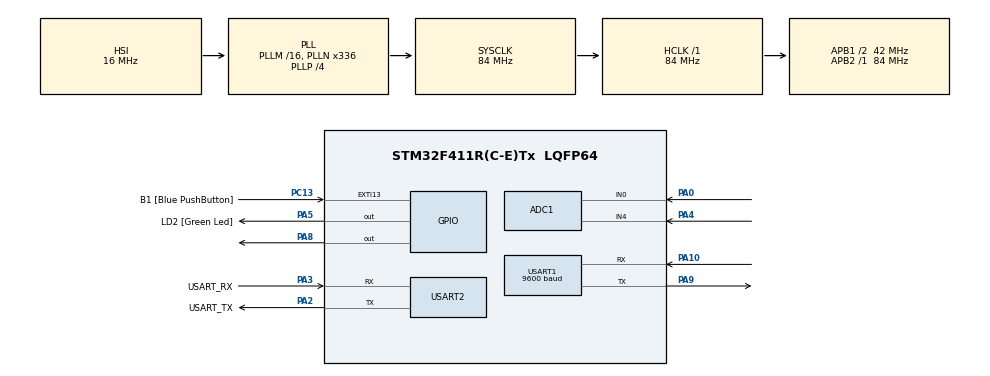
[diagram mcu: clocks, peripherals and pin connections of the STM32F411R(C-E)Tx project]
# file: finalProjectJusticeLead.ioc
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ADC1.Channel-0\#ChannelRegularConversion=ADC_CHANNEL_0
ADC1.Channel-1\#ChannelRegularConversion=ADC_CHANNEL_4
ADC1.ClockPrescaler=ADC_CLOCK_SYNC_PCLK_DIV8
ADC1.ContinuousConvMode=ENABLE
ADC1.DMAContinuousRequests=ENABLE
ADC1.NbrOfConversion=2
ADC1.NbrOfConversionFlag=1
ADC1.Rank-0\#ChannelRegularConversion=1
ADC1.Rank-1\#ChannelRegularConversion=2
ADC1.SamplingTime-0\#ChannelRegularConversion=ADC_SAMPLETIME_28CYCLES
ADC1.SamplingTime-1\#ChannelRegularConversion=ADC_SAMPLETIME_28CYCLES
ADC1.master=1
Dma.ADC1.0.Direction=DMA_PERIPH_TO_MEMORY
Dma.ADC1.0.FIFOMode=DMA_FIFOMODE_DISABLE
Dma.ADC1.0.Instance=DMA2_Stream0
Dma.ADC1.0.MemDataAlignment=DMA_MDATAALIGN_HALFWORD
Dma.ADC1.0.MemInc=DMA_MINC_ENABLE
Dma.ADC1.0.Mode=DMA_CIRCULAR
Dma.ADC1.0.PeriphDataAlignment=DMA_PDATAALIGN_HALFWORD
Dma.ADC1.0.PeriphInc=DMA_PINC_DISABLE
Dma.ADC1.0.Priority=DMA_PRIORITY_LOW
Dma.Request0=ADC1
Mcu.Family=STM32F4
Mcu.Name=STM32F411R(C-E)Tx
Mcu.Package=LQFP64
NVIC.ADC_IRQn=true\:0\:0\:false\:false\:true\:true\:true\:true
NVIC.DMA2_Stream0_IRQn=true\:0\:0\:false\:false\:true\:false\:true\:true
NVIC.PriorityGroup=NVIC_PRIORITYGROUP_0
NVIC.TIM3_IRQn=true\:0\:0\:false\:false\:true\:true\:true\:true
PA0-WKUP.Signal=ADCx_IN0
PA10.Mode=Asynchronous
PA10.Signal=USART1_RX
PA13.GPIO_Label=TMS
PA13.Mode=Serial_Wire
PA13.Signal=SYS_JTMS-SWDIO
PA14.GPIO_Label=TCK
PA14.Mode=Serial_Wire
PA14.Signal=SYS_JTCK-SWCLK
PA2.GPIO_Label=USART_TX
PA2.Mode=Asynchronous
PA2.Signal=USART2_TX
PA3.GPIO_Label=USART_RX
PA3.Mode=Asynchronous
PA3.Signal=USART2_RX
PA4.Signal=ADCx_IN4
PA5.GPIO_Label=LD2 [Green Led]
PA5.Signal=GPIO_Output
PA8.Signal=GPIO_Output
PA9.Mode=Asynchronous
PA9.Signal=USART1_TX
PB3.GPIO_Label=SWO
PB3.Signal=SYS_JTDO-SWO
PC13-ANTI_TAMP.GPIO_Label=B1 [Blue PushButton]
PC13-ANTI_TAMP.GPIO_ModeDefaultEXTI=GPIO_MODE_IT_FALLING
PC13-ANTI_TAMP.Signal=GPXTI13
PC14-OSC32_IN.Mode=LSE-External-Oscillator
PC14-OSC32_IN.Signal=RCC_OSC32_IN
PC15-OSC32_OUT.Mode=LSE-External-Oscillator
PC15-OSC32_OUT.Signal=RCC_OSC32_OUT
PH0\ -\ OSC_IN.Mode=HSE-External-Clock-Source
PH0\ -\ OSC_IN.Signal=RCC_OSC_IN
PH1\ -\ OSC_OUT.Mode=HSE-External-Clock-Source
PH1\ -\ OSC_OUT.Signal=RCC_OSC_OUT
ProjectManager.HeapSize=0x200
ProjectManager.StackSize=0x400
ProjectManager.TargetToolchain=STM32CubeIDE
RCC.48MHZClocksFreq_Value=84000000
RCC.AHBFreq_Value=84000000
RCC.APB1CLKDivider=RCC_HCLK_DIV2
RCC.APB1Freq_Value=42000000
RCC.APB1TimFreq_Value=84000000
RCC.APB2Freq_Value=84000000
RCC.APB2TimFreq_Value=84000000
RCC.CortexFreq_Value=84000000
RCC.FLatency-AdvancedSettings=FLASH_LATENCY_2
RCC.HCLKFreq_Value=84000000
RCC.HSE_VALUE=8000000
RCC.HSI_VALUE=16000000
RCC.PLLN=336
RCC.PLLP=RCC_PLLP_DIV4
RCC.SYSCLKFreq_VALUE=84000000
RCC.SYSCLKSource=RCC_SYSCLKSOURCE_PLLCLK
RCC.VCOOutputFreq_Value=336000000
SH.ADCx_IN0.0=ADC1_IN0,IN0
SH.ADCx_IN4.0=ADC1_IN4,IN4
TIM3.Prescaler=84-1
USART1.BaudRate=9600
USART1.VirtualMode=VM_ASYNC
USART2.VirtualMode=VM_ASYNC
VP_TIM3_VS_ClockSourceINT.Mode=Internal
board=NUCLEO-F411RE

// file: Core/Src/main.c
/* USER CODE BEGIN Header */
/**
  ******************************************************************************
  * @file           : main.c
  * @brief          : Main program body
  ******************************************************************************
  * @attention
  *
  * Copyright (c) 2023 STMicroelectronics.
  * All rights reserved.
  *
  * This software is licensed under terms that can be found in the LICENSE file
  * in the root directory of this software component.
  * If no LICENSE file comes with this software, it is provided AS-IS.
  *
  ******************************************************************************
  */
//Thanks you ajarns, Thanks you TAs, and also thanks to everyone who support us.
/* USER CODE END Header */
#include "main.h"

ADC_HandleTypeDef hadc1;
DMA_HandleTypeDef hdma_adc1;

TIM_HandleTypeDef htim3;

UART_HandleTypeDef huart1;
UART_HandleTypeDef huart2;

void SystemClock_Config(void);
static void MX_GPIO_Init(void);
static void MX_DMA_Init(void);
static void MX_USART2_UART_Init(void);
static void MX_TIM3_Init(void);
static void MX_ADC1_Init(void);
static void MX_USART1_UART_Init(void);

/* USER CODE BEGIN 0 */
uint8_t Rh_byte1, Rh_byte2, Temp_byte1, Temp_byte2;
uint16_t SUM, RH, TEMP;
char t[1000];
uint16_t advcal[2];

char txt[1000];
int x = 0;

char dataToMcu[50] = "";

char line[1000];

float Temperature = 0;
//float Humidity = 0;
uint8_t Presence = 0;

//=============================================================

float TempHot = 30.0;
float TempCold = 22.0;

int mDry = 300; // high value = dry
int mWet = 200; // low value = wet

int lightOperateLower = 500;
int lightOperateUpper = 1100;
//==============================================================
void setMoistureBound(int wet, int dry){
	mDry = dry;
	mWet = wet;
}

void setTempBound(float cold , float hot){
	TempHot = hot;
	TempCold = cold;
}

void setLightOperate(int lower , int upper){

	lightOperateLower = lower;
	lightOperateUpper = upper;
}

int isLightInBound(int light){
	if ((light > lightOperateLower) && (light < lightOperateUpper )){
		return 1;
	}
	return 0;
}
//==============================================================

float getTemp(){
	return Temperature;
}
int getMoist(){
	return (int)(advcal[1]/10);
}
int getLight(){
	return (int)advcal[0];
}

void Set_Pin_Output (GPIO_TypeDef *GPIOx, uint16_t GPIO_Pin)
{
	GPIO_InitTypeDef GPIO_InitStruct = {0};
	GPIO_InitStruct.Pin = GPIO_Pin;
	GPIO_InitStruct.Mode = GPIO_MODE_OUTPUT_PP;
	GPIO_InitStruct.Speed = GPIO_SPEED_FREQ_LOW;
	HAL_GPIO_Init(GPIOx, &GPIO_InitStruct);
}

void Set_Pin_Input (GPIO_TypeDef *GPIOx, uint16_t GPIO_Pin)
{
	GPIO_InitTypeDef GPIO_InitStruct = {0};
	GPIO_InitStruct.Pin = GPIO_Pin;
	GPIO_InitStruct.Mode = GPIO_MODE_INPUT;
	GPIO_InitStruct.Pull = GPIO_PULLUP;
	HAL_GPIO_Init(GPIOx, &GPIO_InitStruct);
}

void delay (uint16_t time)
{
	/* change your code here for the delay in microseconds */
	//HAL_UART_Transmit(&huart2, xx, sizeof(xx), 10);
	__HAL_TIM_SET_COUNTER(&htim3, 0);
	while ((__HAL_TIM_GET_COUNTER(&htim3))<time);
}

#define DS18B20_PORT GPIOA
#define DS18B20_PIN GPIO_PIN_1

uint8_t DS18B20_Start (void)
{
	uint8_t Response = 0;
	Set_Pin_Output(DS18B20_PORT, DS18B20_PIN);   // set the pin as output
	HAL_GPIO_WritePin (DS18B20_PORT, DS18B20_PIN, 0);  // pull the pin low
	delay(480);   // delay according to datasheet

	Set_Pin_Input(DS18B20_PORT, DS18B20_PIN);    // set the pin as input
	delay(80);    // delay according to datasheet

	if (!(HAL_GPIO_ReadPin (DS18B20_PORT, DS18B20_PIN))) Response = 1;    // if the pin is low i.e the presence pulse is detected
	else Response = -1;

	delay(400); // 480 us delay totally.

	return Response;
}

void DS18B20_Write (uint8_t data)
{
	Set_Pin_Output(DS18B20_PORT, DS18B20_PIN);  // set as output

	for (int i=0; i<8; i++)
	{

		if ((data & (1<<i))!=0)  // if the bit is high
		{
			// write 1

			Set_Pin_Output(DS18B20_PORT, DS18B20_PIN);  // set as output
			HAL_GPIO_WritePin (DS18B20_PORT, DS18B20_PIN, 0);  // pull the pin LOW
			delay(1);  // wait for 1 us

			Set_Pin_Input(DS18B20_PORT, DS18B20_PIN);  // set as input
			delay(50);  // wait for 60 us
		}

		else  // if the bit is low
		{
			// write 0

			Set_Pin_Output(DS18B20_PORT, DS18B20_PIN);
			HAL_GPIO_WritePin (DS18B20_PORT, DS18B20_PIN, 0);  // pull the pin LOW
			delay(50);  // wait for 60 us

			Set_Pin_Input(DS18B20_PORT, DS18B20_PIN);
		}
	}
}

uint8_t DS18B20_Read (void)
{
	uint8_t value=0;

	Set_Pin_Input(DS18B20_PORT, DS18B20_PIN);

	for (int i=0;i<8;i++)
	{
		Set_Pin_Output(DS18B20_PORT, DS18B20_PIN);   // set as output

		HAL_GPIO_WritePin (DS18B20_PORT, DS18B20_PIN, 0);  // pull the data pin LOW
		delay(1);  // wait for > 1us

		Set_Pin_Input(DS18B20_PORT, DS18B20_PIN);  // set as input
		if (HAL_GPIO_ReadPin (DS18B20_PORT, DS18B20_PIN))  // if the pin is HIGH
		{
			value |= 1<<i;  // read = 1
		}
		delay(50);  // wait for 60 us
	}
	return value;
}

void heyTempurature(void){
	Presence = DS18B20_Start();
	HAL_Delay(1);
	DS18B20_Write(0xCC);
	DS18B20_Write(0x44);
	HAL_Delay(800);

	Presence = DS18B20_Start();
	DS18B20_Write(0xCC);
	DS18B20_Write(0xBE);
	HAL_Delay(1);

	Temp_byte1 = DS18B20_Read();
	Temp_byte2 = DS18B20_Read();
	TEMP = (Temp_byte2<<8)|Temp_byte1;
	Temperature = (float)TEMP/16;

	sprintf(t,"temp sensor  = %f \r\n", Temperature);
	HAL_UART_Transmit(&huart2, t, sizeof(t), 10);
}

void readLight(){
	/*int adcval = 0;
	HAL_ADC_Start(&hadc1);
	if(HAL_ADC_PollForConversion(&hadc1, 1000) == HAL_OK){
	     adcval = HAL_ADC_GetValue(&hadc1);
	}
	sprintf(light, "adcval = %d\r\n" ,adcval);

	 //printf("%d", &adcval);
	HAL_UART_Transmit(&huart2, light, sizeof(light), HAL_MAX_DELAY * 100000000000);
	HAL_Delay(200);*/

	x = advcal[0];
	sprintf(txt, "Light sensor =  %d\r\n" ,x);

	HAL_UART_Transmit(&huart2, txt, sizeof(txt), HAL_MAX_DELAY);
	//HAL_UART_Transmit(&huart2, x, sizeof(x), HAL_MAX_DELAY );
	//HAL_UART_Transmit(&huart2, '\n', sizeof('\n'), HAL_MAX_DELAY);
	HAL_Delay(200);
}
void readMoist(){
	//char txt[] = "Moist sensor = ";
	x = advcal[1]/10;
	sprintf(txt, "Moist sensor =  %d\r\n" ,x);
	HAL_UART_Transmit(&huart2, txt, sizeof(txt), HAL_MAX_DELAY);
	//HAL_UART_Transmit(&huart2, x, sizeof(x), HAL_MAX_DELAY );
	//HAL_UART_Transmit(&huart2, '\n', sizeof('\n'), HAL_MAX_DELAY);
	HAL_Delay(200);
}

void pumpOn(){
	HAL_GPIO_WritePin(GPIOA, GPIO_PIN_5, GPIO_PIN_SET);
	HAL_GPIO_WritePin(GPIOA, GPIO_PIN_8, GPIO_PIN_RESET);
}
void pumpOff(){
	HAL_GPIO_WritePin(GPIOA, GPIO_PIN_5, GPIO_PIN_RESET);
	HAL_GPIO_WritePin(GPIOA, GPIO_PIN_8, GPIO_PIN_SET);
}

void SensorReport(){
	sprintf(line , "\n\r========================================\n\r" , x);
	heyTempurature();
	readLight();
	readMoist();
	HAL_UART_Transmit(&huart2, line, sizeof(line), HAL_MAX_DELAY);

}

void heyDataPleaseeeeGoToNodeMCUifYouDontGoIwillCry(void){
	HAL_Delay(1000);
	//sprintf(dataToMcu,",%d,%d,%d_", (int) Temperature,advcal[1],advcal[0]); //,temp,moist,light
	sprintf(dataToMcu,",%d,%d,%d_", (int) Temperature,advcal[1]/10,advcal[0]); //,temp,moist,light
	HAL_UART_Transmit(&huart1, dataToMcu, sizeof(dataToMcu), HAL_MAX_DELAY);
	HAL_UART_Transmit(&huart2, dataToMcu, sizeof(dataToMcu), HAL_MAX_DELAY);
	strcpy(dataToMcu,"");
}
/* USER CODE END 0 */

int main(void)
{
  /* USER CODE BEGIN 1 */
	float readTemp;
	int readm , readl;

  /* USER CODE END 1 */

  /* MCU Configuration--------------------------------------------------------*/

  /* Reset of all peripherals, Initializes the Flash interface and the Systick. */
  HAL_Init();

  /* Configure the system clock */
  SystemClock_Config();

  /* Initialize all configured peripherals */
  MX_GPIO_Init();
  MX_DMA_Init();
  MX_USART2_UART_Init();
  MX_TIM3_Init();
  MX_ADC1_Init();
  MX_USART1_UART_Init();
  /* USER CODE BEGIN 2 */
  HAL_TIM_Base_Start(&htim3);
  HAL_ADC_Start_DMA(&hadc1, advcal, 2);
//  hadc1.DMA_Handle->Instance->CR &= ~(DMA_IT_TC | DMA_IT_TE | DMA_IT_DME);
  HAL_NVIC_DisableIRQ(DMA2_Stream0_IRQn);

  setLightOperate(460 , 1100);
  setTempBound(22 , 27);//for room testing
  setMoistureBound(190, 240);

  /* USER CODE END 2 */

  /* Infinite loop */
  while (1)
  {

    /* USER CODE BEGIN 3 */

	  readl = getLight();
	  readm = getMoist();
	  readTemp = getTemp();
	  SensorReport();
	  if((isLightInBound(readl) > 0) && (readm  > mDry || readTemp > TempHot)){
		  while(getMoist() > mWet ){//&& getTemp() > TempCold){
			  // pump working // TBA
			  SensorReport();
			  pumpOn();
			  heyDataPleaseeeeGoToNodeMCUifYouDontGoIwillCry();
			  HAL_Delay(200);

		  }
		  pumpOff();
	  }
	  else{
		  pumpOff();
	  }
	  //HAL_GPIO_WritePin(GPIOA, GPIO_PIN_8, GPIO_PIN_SET);
	  HAL_Delay(200);
	  heyDataPleaseeeeGoToNodeMCUifYouDontGoIwillCry();
	  HAL_UART_Transmit(&huart2, line, sizeof(line), HAL_MAX_DELAY);

  }
  /* USER CODE END 3 */
}

void SystemClock_Config(void)
{
  RCC_OscInitTypeDef RCC_OscInitStruct = {0};
  RCC_ClkInitTypeDef RCC_ClkInitStruct = {0};

  /** Configure the main internal regulator output voltage
  */
  __HAL_RCC_PWR_CLK_ENABLE();
  __HAL_PWR_VOLTAGESCALING_CONFIG(PWR_REGULATOR_VOLTAGE_SCALE1);

  /** Initializes the RCC Oscillators according to the specified parameters
  * in the RCC_OscInitTypeDef structure.
  */
  RCC_OscInitStruct.OscillatorType = RCC_OSCILLATORTYPE_HSI;
  RCC_OscInitStruct.HSIState = RCC_HSI_ON;
  RCC_OscInitStruct.HSICalibrationValue = RCC_HSICALIBRATION_DEFAULT;
  RCC_OscInitStruct.PLL.PLLState = RCC_PLL_ON;
  RCC_OscInitStruct.PLL.PLLSource = RCC_PLLSOURCE_HSI;
  RCC_OscInitStruct.PLL.PLLM = 16;
  RCC_OscInitStruct.PLL.PLLN = 336;
  RCC_OscInitStruct.PLL.PLLP = RCC_PLLP_DIV4;
  RCC_OscInitStruct.PLL.PLLQ = 4;
  if (HAL_RCC_OscConfig(&RCC_OscInitStruct) != HAL_OK)
  {
    Error_Handler();
  }

  /** Initializes the CPU, AHB and APB buses clocks
  */
  RCC_ClkInitStruct.ClockType = RCC_CLOCKTYPE_HCLK|RCC_CLOCKTYPE_SYSCLK
                              |RCC_CLOCKTYPE_PCLK1|RCC_CLOCKTYPE_PCLK2;
  RCC_ClkInitStruct.SYSCLKSource = RCC_SYSCLKSOURCE_PLLCLK;
  RCC_ClkInitStruct.AHBCLKDivider = RCC_SYSCLK_DIV1;
  RCC_ClkInitStruct.APB1CLKDivider = RCC_HCLK_DIV2;
  RCC_ClkInitStruct.APB2CLKDivider = RCC_HCLK_DIV1;

  if (HAL_RCC_ClockConfig(&RCC_ClkInitStruct, FLASH_LATENCY_2) != HAL_OK)
  {
    Error_Handler();
  }
}

static void MX_ADC1_Init(void)
{

  ADC_ChannelConfTypeDef sConfig = {0};

  /** Configure the global features of the ADC (Clock, Resolution, Data Alignment and number of conversion)
  */
  hadc1.Instance = ADC1;
  hadc1.Init.ClockPrescaler = ADC_CLOCK_SYNC_PCLK_DIV8;
  hadc1.Init.Resolution = ADC_RESOLUTION_12B;
  hadc1.Init.ScanConvMode = ENABLE;
  hadc1.Init.ContinuousConvMode = ENABLE;
  hadc1.Init.DiscontinuousConvMode = DISABLE;
  hadc1.Init.ExternalTrigConvEdge = ADC_EXTERNALTRIGCONVEDGE_NONE;
  hadc1.Init.ExternalTrigConv = ADC_SOFTWARE_START;
  hadc1.Init.DataAlign = ADC_DATAALIGN_RIGHT;
  hadc1.Init.NbrOfConversion = 2;
  hadc1.Init.DMAContinuousRequests = ENABLE;
  hadc1.Init.EOCSelection = ADC_EOC_SINGLE_CONV;
  if (HAL_ADC_Init(&hadc1) != HAL_OK)
  {
    Error_Handler();
  }

  /** Configure for the selected ADC regular channel its corresponding rank in the sequencer and its sample time.
  */
  sConfig.Channel = ADC_CHANNEL_0;
  sConfig.Rank = 1;
  sConfig.SamplingTime = ADC_SAMPLETIME_28CYCLES;
  if (HAL_ADC_ConfigChannel(&hadc1, &sConfig) != HAL_OK)
  {
    Error_Handler();
  }

  /** Configure for the selected ADC regular channel its corresponding rank in the sequencer and its sample time.
  */
  sConfig.Channel = ADC_CHANNEL_4;
  sConfig.Rank = 2;
  if (HAL_ADC_ConfigChannel(&hadc1, &sConfig) != HAL_OK)
  {
    Error_Handler();
  }

}

static void MX_TIM3_Init(void)
{

  TIM_ClockConfigTypeDef sClockSourceConfig = {0};
  TIM_MasterConfigTypeDef sMasterConfig = {0};

  htim3.Instance = TIM3;
  htim3.Init.Prescaler = 84-1;
  htim3.Init.CounterMode = TIM_COUNTERMODE_UP;
  htim3.Init.Period = 65535;
  htim3.Init.ClockDivision = TIM_CLOCKDIVISION_DIV1;
  htim3.Init.AutoReloadPreload = TIM_AUTORELOAD_PRELOAD_DISABLE;
  if (HAL_TIM_Base_Init(&htim3) != HAL_OK)
  {
    Error_Handler();
  }
  sClockSourceConfig.ClockSource = TIM_CLOCKSOURCE_INTERNAL;
  if (HAL_TIM_ConfigClockSource(&htim3, &sClockSourceConfig) != HAL_OK)
  {
    Error_Handler();
  }
  sMasterConfig.MasterOutputTrigger = TIM_TRGO_RESET;
  sMasterConfig.MasterSlaveMode = TIM_MASTERSLAVEMODE_DISABLE;
  if (HAL_TIMEx_MasterConfigSynchronization(&htim3, &sMasterConfig) != HAL_OK)
  {
    Error_Handler();
  }

}

static void MX_USART1_UART_Init(void)
{

  huart1.Instance = USART1;
  huart1.Init.BaudRate = 9600;
  huart1.Init.WordLength = UART_WORDLENGTH_8B;
  huart1.Init.StopBits = UART_STOPBITS_1;
  huart1.Init.Parity = UART_PARITY_NONE;
  huart1.Init.Mode = UART_MODE_TX_RX;
  huart1.Init.HwFlowCtl = UART_HWCONTROL_NONE;
  huart1.Init.OverSampling = UART_OVERSAMPLING_16;
  if (HAL_UART_Init(&huart1) != HAL_OK)
  {
    Error_Handler();
  }

}

static void MX_USART2_UART_Init(void)
{

  huart2.Instance = USART2;
  huart2.Init.BaudRate = 115200;
  huart2.Init.WordLength = UART_WORDLENGTH_8B;
  huart2.Init.StopBits = UART_STOPBITS_1;
  huart2.Init.Parity = UART_PARITY_NONE;
  huart2.Init.Mode = UART_MODE_TX_RX;
  huart2.Init.HwFlowCtl = UART_HWCONTROL_NONE;
  huart2.Init.OverSampling = UART_OVERSAMPLING_16;
  if (HAL_UART_Init(&huart2) != HAL_OK)
  {
    Error_Handler();
  }

}

static void MX_DMA_Init(void)
{

  /* DMA controller clock enable */
  __HAL_RCC_DMA2_CLK_ENABLE();

  /* DMA interrupt init */
  /* DMA2_Stream0_IRQn interrupt configuration */
  HAL_NVIC_SetPriority(DMA2_Stream0_IRQn, 0, 0);
  HAL_NVIC_EnableIRQ(DMA2_Stream0_IRQn);

}

static void MX_GPIO_Init(void)
{
  GPIO_InitTypeDef GPIO_InitStruct = {0};

  /* GPIO Ports Clock Enable */
  __HAL_RCC_GPIOC_CLK_ENABLE();
  __HAL_RCC_GPIOH_CLK_ENABLE();
  __HAL_RCC_GPIOA_CLK_ENABLE();
  __HAL_RCC_GPIOB_CLK_ENABLE();

  /*Configure GPIO pin Output Level */
  HAL_GPIO_WritePin(GPIOA, LD2_Pin|GPIO_PIN_8, GPIO_PIN_RESET);

  /*Configure GPIO pin : B1_Pin */
  GPIO_InitStruct.Pin = B1_Pin;
  GPIO_InitStruct.Mode = GPIO_MODE_IT_FALLING;
  GPIO_InitStruct.Pull = GPIO_NOPULL;
  HAL_GPIO_Init(B1_GPIO_Port, &GPIO_InitStruct);

  /*Configure GPIO pins : LD2_Pin PA8 */
  GPIO_InitStruct.Pin = LD2_Pin|GPIO_PIN_8;
  GPIO_InitStruct.Mode = GPIO_MODE_OUTPUT_PP;
  GPIO_InitStruct.Pull = GPIO_NOPULL;
  GPIO_InitStruct.Speed = GPIO_SPEED_FREQ_LOW;
  HAL_GPIO_Init(GPIOA, &GPIO_InitStruct);

}

void Error_Handler(void)
{
  __disable_irq();
  while (1)
  {
  }
}
